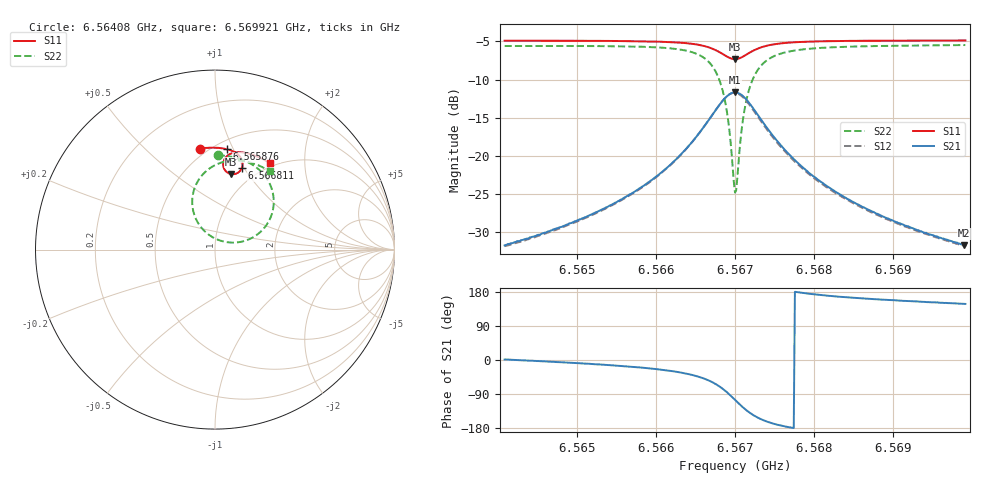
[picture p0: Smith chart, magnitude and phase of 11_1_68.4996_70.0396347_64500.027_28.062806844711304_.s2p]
#  HZ  S  RI  R  50.00
! Rohde & Schwarz Vector Network Analyzer
! Rohde-Schwarz,ZNB20-2Port,1311601062101988,3.16
! Created: UTC 3/20/2024, 5:04:10 PM
! freq[Hz]  re:S11  im:S11  re:S21  im:S21  re:S12  im:S12  re:S22  im:S22
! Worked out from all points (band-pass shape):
!   401 points, 6.56408 GHz to 6.569921 GHz, reference 50 ohm
!   highest |S21| = -11.67 dB at 6.567001 GHz (marker M1); lowest = -31.7 dB at 6.569907 GHz (marker M2)
!   |S21| within 3 dB of the highest: 6.56671 GHz to 6.567293 GHz (583.4 kHz wide, 0.00888 % of centre)
!   lowest |S11| = -7.3 dB at 6.567001 GHz (marker M3), VSWR 2.51, Z = 40.4 + j41.8 ohm
!   |S11| at or under -10 dB: nowhere
!   |S22| runs from -24.8 to -5.5 dB; largest |S21 - S12| = 0.012
!   S11 on the Smith chart (normalised r, x): 6.56408 GHz: 0.45, +0.75; 6.565876 GHz: 0.58, +0.95; 6.566811 GHz: 0.83, +0.97; 6.569921 GHz: 0.94, +1.35
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6.5640803e9  -0.084 0.5628  0.026 0.000542  0.0257 0.000255  0.0147 0.5247
6.5650586e9  -0.00515 0.5679  0.0384 -0.00605  0.0376 -0.00661  0.104 0.5144
6.5658763e9  0.0685 0.559  0.0611 -0.0238  0.0602 -0.0245  0.2014 0.4774
6.566037e9  0.0848 0.5542  0.0688 -0.0318  0.0677 -0.0326  0.2263 0.461
6.5663436e9  0.1183 0.5374  0.0876 -0.0597  0.0862 -0.0608  0.2817 0.4058
6.5665627e9  0.1432 0.512  0.101 -0.1035  0.099 -0.1054  0.3209 0.3212
6.5667087e9  0.1536 0.4817  0.0975 -0.1565  0.0939 -0.1593  0.3226 0.22
6.5668109e9  0.1488 0.4526  0.072 -0.2065  0.0657 -0.2092  0.2788 0.126
6.5668985e9  0.1288 0.4288  0.021 -0.2452  0.0115 -0.2459  0.1862 0.0559
6.5669277e9  0.1185 0.4236  -0.00271 -0.2531  -0.0127 -0.2523  0.1438 0.043
6.5669861e9  0.0944 0.4202  -0.055 -0.2547  -0.0655 -0.2505  0.0509 0.0442
6.5670007e9  0.0884 0.4211  -0.0683 -0.2519  -0.0785 -0.2466  0.0279 0.0504
6.5670299e9  0.0766 0.4249  -0.0935 -0.2423  -0.1029 -0.2355  -0.0152 0.07
6.5670883e9  0.0575 0.4397  -0.1346 -0.2108  -0.141 -0.2015  -0.082 0.1299
6.5671321e9  0.0491 0.4544  -0.1545 -0.1816  -0.1585 -0.1715  -0.1118 0.1838
6.5671906e9  0.0454 0.4744  -0.167 -0.142  -0.1684 -0.1324  -0.1268 0.2542
6.5672636e9  0.0494 0.496  -0.167 -0.0995  -0.1659 -0.0915  -0.1185 0.3277
6.5675264e9  0.0883 0.5344  -0.1252 -0.0215  -0.1225 -0.0181  -0.0234 0.4571
6.5679791e9  0.147 0.5422  -0.0742 0.00804  -0.0726 0.00913  0.0966 0.4963
6.5689574e9  0.2347 0.5188  -0.0358 0.0143  -0.0351 0.0145  0.2258 0.4757
6.5699066e9  0.3031 0.4838  -0.0221 0.0136  -0.0217 0.0139  0.3046 0.4369
6.5699212e9  0.3041 0.4832  -0.022 0.0138  -0.0216 0.0138  0.3058 0.4363
